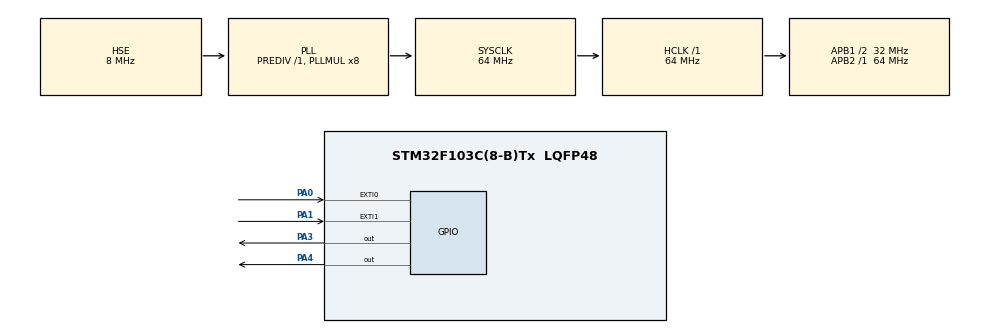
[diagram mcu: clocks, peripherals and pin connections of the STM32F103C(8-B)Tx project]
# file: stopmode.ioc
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Mcu.Family=STM32F1
Mcu.Name=STM32F103C(8-B)Tx
Mcu.Package=LQFP48
NVIC.EXTI0_IRQn=true\:0\:0\:false\:false\:true\:true\:true\:true
NVIC.EXTI1_IRQn=true\:0\:0\:false\:false\:true\:true\:true\:true
NVIC.PriorityGroup=NVIC_PRIORITYGROUP_4
NVIC.TIM1_UP_IRQn=true\:2\:0\:true\:false\:true\:true\:true\:true
PA0-WKUP.Signal=GPXTI0
PA1.Signal=GPXTI1
PA13.Mode=Serial_Wire
PA13.Signal=SYS_JTMS-SWDIO
PA14.Mode=Serial_Wire
PA14.Signal=SYS_JTCK-SWCLK
PA3.Signal=GPIO_Output
PA4.Signal=GPIO_Output
PD0-OSC_IN.Mode=HSE-External-Oscillator
PD0-OSC_IN.Signal=RCC_OSC_IN
PD1-OSC_OUT.Mode=HSE-External-Oscillator
PD1-OSC_OUT.Signal=RCC_OSC_OUT
ProjectManager.HeapSize=0x200
ProjectManager.StackSize=0x400
ProjectManager.TargetToolchain=STM32CubeIDE
RCC.AHBFreq_Value=64000000
RCC.APB1CLKDivider=RCC_HCLK_DIV2
RCC.APB1Freq_Value=32000000
RCC.APB1TimFreq_Value=64000000
RCC.APB2Freq_Value=64000000
RCC.APB2TimFreq_Value=64000000
RCC.HCLKFreq_Value=64000000
RCC.PLLMUL=RCC_PLL_MUL8
RCC.PLLSourceVirtual=RCC_PLLSOURCE_HSE
RCC.SYSCLKFreq_VALUE=64000000
RCC.SYSCLKSource=RCC_SYSCLKSOURCE_PLLCLK
RCC.USBFreq_Value=64000000
TIM1.Period=499
TIM1.Prescaler=63999
VP_TIM1_VS_ClockSourceINT.Mode=Internal
board=custom

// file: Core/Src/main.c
/* USER CODE BEGIN Header */
/**
  ******************************************************************************
  * @file           : main.c
  * @brief          : Main program body
  ******************************************************************************
  * @attention
  *
  * Copyright (c) 2025 STMicroelectronics.
  * All rights reserved.
  *
  * This software is licensed under terms that can be found in the LICENSE file
  * in the root directory of this software component.
  * If no LICENSE file comes with this software, it is provided AS-IS.
  *
  ******************************************************************************
  */
/* USER CODE END Header */
#include "main.h"

/* USER CODE BEGIN PD */
volatile uint8_t StopMode_Activated = 0;   // Flag: CPU is in stop
volatile uint8_t EnterStopFlag = 0;        // Flag: request to enter stop (shared with EXTI ISR)
volatile uint8_t WakeupFromStopFlag = 0;   // Flag: wakeup request (shared with EXTI ISR)
/* USER CODE END PD */

TIM_HandleTypeDef htim1;

void SystemClock_Config(void);
static void MX_GPIO_Init(void);
static void MX_TIM1_Init(void);

/* USER CODE BEGIN 0 */
void blinkled()
{
		static uint32_t lastTick = 0;
    static uint8_t state = 0;

		if(!state&&(HAL_GetTick() - lastTick >=950)){
				HAL_GPIO_WritePin(GPIOA,GPIO_PIN_4,0);
				state = 1;
				lastTick = HAL_GetTick();
		}
		else if(state&&(HAL_GetTick() - lastTick >=50)){
				HAL_GPIO_WritePin(GPIOA,GPIO_PIN_4,1);
				state = 0;
				lastTick = HAL_GetTick();
		}
}

// Timer interrupt for led blink
void HAL_TIM_PeriodElapsedCallback(TIM_HandleTypeDef *htim)
{
		if(htim->Instance == htim1.Instance){
				HAL_GPIO_TogglePin(GPIOA,GPIO_PIN_3);
		}
}
/* USER CODE END 0 */

int main(void)
{

  /* MCU Configuration--------------------------------------------------------*/

  /* Reset of all peripherals, Initializes the Flash interface and the Systick. */
  HAL_Init();

  /* Configure the system clock */
  SystemClock_Config();

  /* Initialize all configured peripherals */
  MX_GPIO_Init();
  MX_TIM1_Init();
  /* USER CODE BEGIN 2 */
  HAL_TIM_Base_Start_IT(&htim1);
  /* USER CODE END 2 */

  /* Infinite loop */
  /* USER CODE BEGIN WHILE */
  while (1)
  {
		// stop mode entry and wakeup
		if (EnterStopFlag)
    {
        EnterStopFlag = 0;
        StopMode_Activated = 1;
        HAL_SuspendTick();
        HAL_PWR_EnterSTOPMode(PWR_MAINREGULATOR_ON, PWR_STOPENTRY_WFI);
    }
		if (WakeupFromStopFlag)
		{
    SystemClock_Config();    // khôi phục clock hệ thống (HSE + PLL)
    HAL_ResumeTick();        // bật lại SysTick

    StopMode_Activated = 0;
    WakeupFromStopFlag = 0;
		}

		blinkled();
    /* USER CODE END WHILE */

  }
}

void SystemClock_Config(void)
{
  RCC_OscInitTypeDef RCC_OscInitStruct = {0};
  RCC_ClkInitTypeDef RCC_ClkInitStruct = {0};

  /** Initializes the RCC Oscillators according to the specified parameters
  * in the RCC_OscInitTypeDef structure.
  */
  RCC_OscInitStruct.OscillatorType = RCC_OSCILLATORTYPE_HSE;
  RCC_OscInitStruct.HSEState = RCC_HSE_ON;
  RCC_OscInitStruct.HSEPredivValue = RCC_HSE_PREDIV_DIV1;
  RCC_OscInitStruct.HSIState = RCC_HSI_ON;
  RCC_OscInitStruct.PLL.PLLState = RCC_PLL_ON;
  RCC_OscInitStruct.PLL.PLLSource = RCC_PLLSOURCE_HSE;
  RCC_OscInitStruct.PLL.PLLMUL = RCC_PLL_MUL8;
  if (HAL_RCC_OscConfig(&RCC_OscInitStruct) != HAL_OK)
  {
    Error_Handler();
  }

  /** Initializes the CPU, AHB and APB buses clocks
  */
  RCC_ClkInitStruct.ClockType = RCC_CLOCKTYPE_HCLK|RCC_CLOCKTYPE_SYSCLK
                              |RCC_CLOCKTYPE_PCLK1|RCC_CLOCKTYPE_PCLK2;
  RCC_ClkInitStruct.SYSCLKSource = RCC_SYSCLKSOURCE_PLLCLK;
  RCC_ClkInitStruct.AHBCLKDivider = RCC_SYSCLK_DIV1;
  RCC_ClkInitStruct.APB1CLKDivider = RCC_HCLK_DIV2;
  RCC_ClkInitStruct.APB2CLKDivider = RCC_HCLK_DIV1;

  if (HAL_RCC_ClockConfig(&RCC_ClkInitStruct, FLASH_LATENCY_2) != HAL_OK)
  {
    Error_Handler();
  }
}

static void MX_TIM1_Init(void)
{

  TIM_ClockConfigTypeDef sClockSourceConfig = {0};
  TIM_MasterConfigTypeDef sMasterConfig = {0};

  htim1.Instance = TIM1;
  htim1.Init.Prescaler = 63999;
  htim1.Init.CounterMode = TIM_COUNTERMODE_UP;
  htim1.Init.Period = 499;
  htim1.Init.ClockDivision = TIM_CLOCKDIVISION_DIV1;
  htim1.Init.RepetitionCounter = 0;
  htim1.Init.AutoReloadPreload = TIM_AUTORELOAD_PRELOAD_DISABLE;
  if (HAL_TIM_Base_Init(&htim1) != HAL_OK)
  {
    Error_Handler();
  }
  sClockSourceConfig.ClockSource = TIM_CLOCKSOURCE_INTERNAL;
  if (HAL_TIM_ConfigClockSource(&htim1, &sClockSourceConfig) != HAL_OK)
  {
    Error_Handler();
  }
  sMasterConfig.MasterOutputTrigger = TIM_TRGO_RESET;
  sMasterConfig.MasterSlaveMode = TIM_MASTERSLAVEMODE_DISABLE;
  if (HAL_TIMEx_MasterConfigSynchronization(&htim1, &sMasterConfig) != HAL_OK)
  {
    Error_Handler();
  }

}

static void MX_GPIO_Init(void)
{
  GPIO_InitTypeDef GPIO_InitStruct = {0};

  /* GPIO Ports Clock Enable */
  __HAL_RCC_GPIOD_CLK_ENABLE();
  __HAL_RCC_GPIOA_CLK_ENABLE();

  /*Configure GPIO pin Output Level */
  HAL_GPIO_WritePin(GPIOA, GPIO_PIN_3|GPIO_PIN_4, GPIO_PIN_RESET);

  /*Configure GPIO pins : PA0 PA1 */
  GPIO_InitStruct.Pin = GPIO_PIN_0|GPIO_PIN_1;
  GPIO_InitStruct.Mode = GPIO_MODE_IT_RISING;
  GPIO_InitStruct.Pull = GPIO_NOPULL;
  HAL_GPIO_Init(GPIOA, &GPIO_InitStruct);

  /*Configure GPIO pins : PA3 PA4 */
  GPIO_InitStruct.Pin = GPIO_PIN_3|GPIO_PIN_4;
  GPIO_InitStruct.Mode = GPIO_MODE_OUTPUT_PP;
  GPIO_InitStruct.Pull = GPIO_NOPULL;
  GPIO_InitStruct.Speed = GPIO_SPEED_FREQ_LOW;
  HAL_GPIO_Init(GPIOA, &GPIO_InitStruct);

  /* EXTI interrupt init*/
  HAL_NVIC_SetPriority(EXTI0_IRQn, 0, 0);
  HAL_NVIC_EnableIRQ(EXTI0_IRQn);

  HAL_NVIC_SetPriority(EXTI1_IRQn, 0, 0);
  HAL_NVIC_EnableIRQ(EXTI1_IRQn);

}

/* USER CODE BEGIN 4 */
/**
  * @brief EXTI line callback for PA0
  */
void HAL_GPIO_EXTI_Callback(uint16_t GPIO_Pin)
{
    if (GPIO_Pin == GPIO_PIN_0)   // PA0: Enter STOP
    {
        EnterStopFlag = 1;
    }

    if (GPIO_Pin == GPIO_PIN_1)   // PA1: Wakeup from STOP
    {
        WakeupFromStopFlag = 1;
    }
}

/* USER CODE END 4 */

void Error_Handler(void)
{
  __disable_irq();
  while (1)
  {
  }
}
